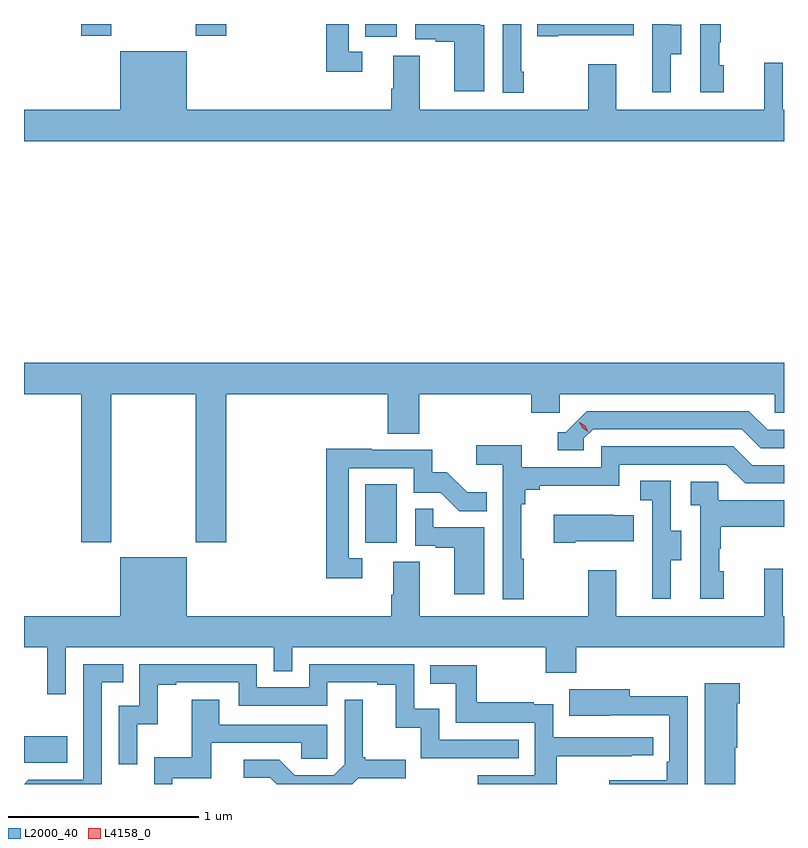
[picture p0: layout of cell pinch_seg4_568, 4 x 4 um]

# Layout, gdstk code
import gdstk
lib = gdstk.Library(unit=1e-6, precision=1e-09)
def R(c, l, rs):  # rectangles x0, y0, x1, y1
    for r in rs: c.add(gdstk.rectangle(r[:2], r[2:], *l))
def P(c, l, *ps):  # polygons
    for p in ps: c.add(gdstk.Polygon(p, *l))
L2000_40 = (2000, 40)
L4158_0 = (4158, 0)

pinch_seg4_568 = lib.new_cell('pinch_seg4_568')
R(pinch_seg4_568, L2000_40, [(1088.597,770.903,1088.825,771.043), (1090.394,772.062,1090.558,772.369), (1090.394,774.726,1090.558,774.792), (1088.897,774.729,1089.057,774.792), (1089.502,774.729,1089.662,774.792)])
P(pinch_seg4_568, L2000_40, [(1092.28,774.576),(1092.255,774.576),(1092.255,774.695),(1092.265,774.695),(1092.265,774.792),(1092.156,774.792),(1092.156,774.432),(1092.28,774.432)],
  [(1092.001,774.634),(1092.055,774.634),(1092.055,774.789),(1092,774.789),(1092,774.792),(1091.904,774.792),(1091.904,774.645),(1091.903,774.645),(1091.903,774.432),(1092.001,774.432)],
  [(1091.41,774.734),(1091.807,774.734),(1091.807,774.792),(1091.299,774.792),(1091.299,774.727),(1091.41,774.727)],
  [(1091.02,774.786),(1090.998,774.786),(1090.998,774.792),(1090.656,774.792),(1090.656,774.711),(1090.763,774.711),(1090.763,774.699),(1090.862,774.699),(1090.862,774.438),(1091.02,774.438)],
  [(1090.378,774.645),(1090.305,774.645),(1090.305,774.792),(1090.189,774.792),(1090.189,774.54),(1090.378,774.54)],
  [(1091.227,774.541),(1091.214,774.541),(1091.214,774.792),(1091.118,774.792),(1091.118,774.429),(1091.227,774.429)],
  [(1092.597,774.34),(1092.591,774.34),(1092.591,774.589),(1092.494,774.589),(1092.494,774.34),(1091.713,774.34),(1091.713,774.58),(1091.566,774.58),(1091.566,774.34),(1090.681,774.34),(1090.681,774.626),(1090.541,774.626),(1090.541,774.452),(1090.529,774.452),(1090.529,774.34),(1089.454,774.34),(1089.454,774.649),(1089.104,774.649),(1089.104,774.34),(1088.597,774.34),(1088.597,774.176),(1092.597,774.176)],
  [(1088.597,772.844),(1088.897,772.844),(1088.897,772.065),(1089.057,772.065),(1089.057,772.844),(1089.502,772.844),(1089.502,772.065),(1089.662,772.065),(1089.662,772.844),(1090.511,772.844),(1090.511,772.636),(1090.676,772.636),(1090.676,772.844),(1091.267,772.844),(1091.267,772.746),(1091.418,772.746),(1091.418,772.844),(1092.549,772.844),(1092.549,772.746),(1092.597,772.746),(1092.597,773.008),(1088.597,773.008)],
  [(1091.544,772.611),(1091.592,772.659),(1092.375,772.659),(1092.474,772.56),(1092.597,772.56),(1092.597,772.656),(1092.511,772.656),(1092.412,772.755),(1091.559,772.755),(1091.448,772.644),(1091.405,772.644),(1091.405,772.548),(1091.544,772.548)],
  [(1091.227,771.977),(1091.215,771.977),(1091.215,772.265),(1091.234,772.265),(1091.234,772.342),(1091.311,772.342),(1091.311,772.361),(1091.73,772.361),(1091.73,772.473),(1092.294,772.473),(1092.393,772.374),(1092.597,772.374),(1092.597,772.47),(1092.43,772.47),(1092.331,772.569),(1091.634,772.569),(1091.634,772.458),(1091.216,772.458),(1091.216,772.574),(1090.977,772.574),(1090.977,772.472),(1091.118,772.472),(1091.118,771.765),(1091.227,771.765)],
  [(1090.378,771.981),(1090.305,771.981),(1090.305,772.455),(1090.647,772.455),(1090.647,772.326),(1090.791,772.326),(1090.889,772.228),(1091.033,772.228),(1091.033,772.327),(1090.929,772.327),(1090.822,772.434),(1090.746,772.434),(1090.746,772.551),(1090.427,772.551),(1090.427,772.556),(1090.189,772.556),(1090.189,771.876),(1090.378,771.876)],
  [(1092.001,771.97),(1092.055,771.97),(1092.055,772.125),(1092,772.125),(1092,772.388),(1091.841,772.388),(1091.841,772.285),(1091.904,772.285),(1091.904,771.981),(1091.903,771.981),(1091.903,771.768),(1092.001,771.768)],
  [(1092.28,771.912),(1092.255,771.912),(1092.255,772.031),(1092.265,772.031),(1092.265,772.145),(1092.597,772.145),(1092.597,772.285),(1092.252,772.285),(1092.252,772.383),(1092.105,772.383),(1092.105,772.259),(1092.156,772.259),(1092.156,771.768),(1092.28,771.768)],
  [(1091.02,772.143),(1090.751,772.143),(1090.751,772.241),(1090.656,772.241),(1090.656,772.047),(1090.763,772.047),(1090.763,772.035),(1090.862,772.035),(1090.862,771.792),(1091.02,771.792)],
  [(1091.497,772.07),(1091.807,772.07),(1091.807,772.207),(1091.699,772.207),(1091.699,772.21),(1091.385,772.21),(1091.385,772.063),(1091.497,772.063)],
  [(1088.817,771.512),(1089.912,771.512),(1089.912,771.385),(1090.008,771.385),(1090.008,771.512),(1091.344,771.512),(1091.344,771.377),(1091.504,771.377),(1091.504,771.512),(1092.597,771.512),(1092.597,771.676),(1092.591,771.676),(1092.591,771.925),(1092.494,771.925),(1092.494,771.676),(1091.713,771.676),(1091.713,771.916),(1091.566,771.916),(1091.566,771.676),(1090.681,771.676),(1090.681,771.962),(1090.541,771.962),(1090.541,771.788),(1090.529,771.788),(1090.529,771.676),(1089.454,771.676),(1089.454,771.985),(1089.104,771.985),(1089.104,771.676),(1088.597,771.676),(1088.597,771.512),(1088.72,771.512),(1088.72,771.264),(1088.817,771.264)],
  [(1089.192,771.107),(1089.302,771.107),(1089.302,771.315),(1089.397,771.315),(1089.397,771.327),(1089.726,771.327),(1089.726,771.204),(1090.194,771.204),(1090.194,771.327),(1090.457,771.327),(1090.457,771.315),(1090.553,771.315),(1090.553,771.089),(1090.686,771.089),(1090.686,770.928),(1091.201,770.928),(1091.201,771.024),(1090.782,771.024),(1090.782,771.187),(1090.65,771.187),(1090.65,771.423),(1090.098,771.423),(1090.098,771.3),(1089.822,771.3),(1089.822,771.423),(1089.204,771.423),(1089.204,771.204),(1089.096,771.204),(1089.096,770.895),(1089.192,770.895)],
  [(1089.006,771.327),(1089.119,771.327),(1089.119,771.423),(1088.91,771.423),(1088.91,770.814),(1088.619,770.814),(1088.597,770.792),(1089.006,770.792)],
  [(1091.402,770.938),(1091.795,770.938),(1091.795,770.943),(1091.908,770.943),(1091.908,771.039),(1091.382,771.039),(1091.382,771.211),(1091.279,771.211),(1091.279,771.223),(1090.981,771.223),(1090.981,771.417),(1090.735,771.417),(1090.735,771.32),(1090.87,771.32),(1090.87,771.114),(1091.286,771.114),(1091.286,770.838),(1090.985,770.838),(1090.985,770.792),(1091.402,770.792)],
  [(1092.34,770.982),(1092.352,770.982),(1092.352,771.218),(1092.365,771.218),(1092.365,771.322),(1092.179,771.322),(1092.179,770.792),(1092.34,770.792)],
  [(1092.09,771.254),(1091.785,771.254),(1091.785,771.292),(1091.467,771.292),(1091.467,771.152),(1091.681,771.152),(1091.681,771.153),(1091.994,771.153),(1091.994,770.908),(1091.981,770.908),(1091.981,770.812),(1091.676,770.812),(1091.676,770.792),(1092.09,770.792)],
  [(1090.356,770.823),(1090.606,770.823),(1090.606,770.92),(1090.393,770.92),(1090.393,770.932),(1090.381,770.932),(1090.381,771.235),(1090.284,771.235),(1090.284,770.895),(1090.227,770.838),(1090.021,770.838),(1089.94,770.919),(1089.753,770.919),(1089.753,770.826),(1089.894,770.826),(1089.928,770.792),(1090.325,770.792)],
  [(1089.378,770.823),(1089.583,770.823),(1089.583,771.009),(1090.057,771.009),(1090.057,770.925),(1090.194,770.925),(1090.194,771.105),(1089.625,771.105),(1089.625,771.235),(1089.481,771.235),(1089.481,770.932),(1089.282,770.932),(1089.282,770.792),(1089.378,770.792)])
P(pinch_seg4_568, L4158_0, [(1091.568,772.645),(1091.537,772.664),(1091.52,772.697),(1091.52,772.697),(1091.521,772.697),(1091.552,772.678),(1091.568,772.646),(1091.568,772.645)])

lib.write_gds('pinch_seg4_568.gds')
